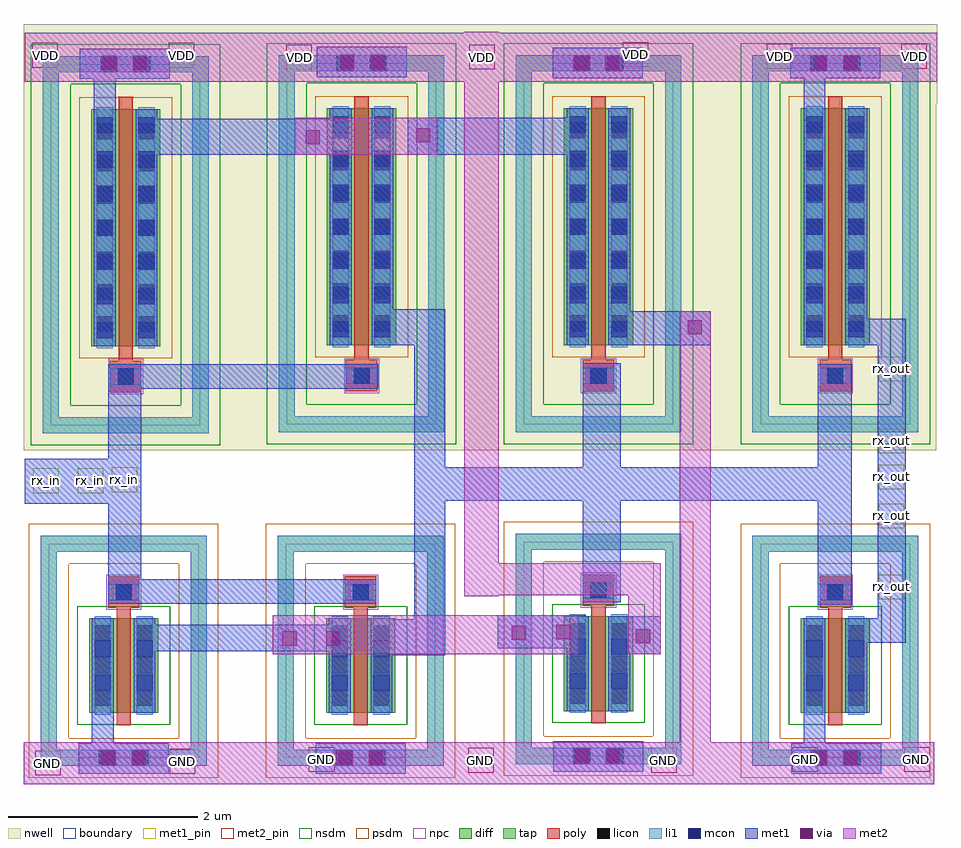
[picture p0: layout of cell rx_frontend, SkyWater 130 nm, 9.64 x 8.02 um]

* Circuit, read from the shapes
.subckt rx_frontend GND VDD rx_in rx_out
XM1 sky130_fd_pr__nfet_01v8_R8QKZ6_2/D rx_in GND GND sky130_fd_pr__nfet_01v8 w=1 l=0.15
XM2 sky130_fd_pr__nfet_01v8_R8QKZ6_0/D rx_in sky130_fd_pr__nfet_01v8_R8QKZ6_2/D GND sky130_fd_pr__nfet_01v8 w=1 l=0.15
XM3 VDD sky130_fd_pr__nfet_01v8_R8QKZ6_0/D sky130_fd_pr__nfet_01v8_R8QKZ6_2/D GND sky130_fd_pr__nfet_01v8 w=1 l=0.15
XM4 rx_out sky130_fd_pr__nfet_01v8_R8QKZ6_0/D GND GND sky130_fd_pr__nfet_01v8 w=1 l=0.15
XM5 sky130_fd_pr__pfet_01v8_7NYN35_4/D rx_in VDD VDD sky130_fd_pr__pfet_01v8 w=2.5 l=0.15
XM6 sky130_fd_pr__nfet_01v8_R8QKZ6_0/D rx_in sky130_fd_pr__pfet_01v8_7NYN35_4/D VDD sky130_fd_pr__pfet_01v8 w=2.5 l=0.15
XM7 GND sky130_fd_pr__nfet_01v8_R8QKZ6_0/D sky130_fd_pr__pfet_01v8_7NYN35_4/D VDD sky130_fd_pr__pfet_01v8 w=2.5 l=0.15
XM8 rx_out sky130_fd_pr__nfet_01v8_R8QKZ6_0/D VDD VDD sky130_fd_pr__pfet_01v8 w=2.5 l=0.15
.ends

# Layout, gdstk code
from math import pi, radians
import gdstk
lib = gdstk.Library(unit=1e-6, precision=1e-09)
def R(c, l, rs):  # rectangles x0, y0, x1, y1
    for r in rs: c.add(gdstk.rectangle(r[:2], r[2:], *l))
def A(c, l, x, y, w, h, nx, ny, dx, dy):  # array of equal rectangles
    R(c, l, [(x+i*dx, y+j*dy, x+i*dx+w, y+j*dy+h) for i in range(nx) for j in range(ny)])
nwell = (64, 20)
diff = (65, 20)
tap = (65, 44)
poly = (66, 20)
licon = (66, 44)
li1 = (67, 20)
mcon = (67, 44)
met1_pin = (68, 16)
met1 = (68, 20)
via = (68, 44)
met2_pin = (69, 16)
met2 = (69, 20)
nsdm = (93, 44)
psdm = (94, 20)
npc = (95, 20)
boundary = (235, 4)

sky130_fd_pr__nfet_01v8_ = lib.new_cell('sky130_fd_pr__nfet_01v8_R8QKZ6')
R(sky130_fd_pr__nfet_01v8_, diff, [(-0.365,-0.655,0.365,0.345)])
R(sky130_fd_pr__nfet_01v8_, tap, [(-0.875,-1.215,0.875,-1.045), (-0.875,-1.045,-0.705,1.045), (0.705,-1.045,0.875,1.045), (-0.875,1.045,0.875,1.215)])
R(sky130_fd_pr__nfet_01v8_, poly, [(-0.075,-0.785,0.075,0.455), (-0.165,0.455,0.165,0.785)])
A(sky130_fd_pr__nfet_01v8_, licon, -0.305, -0.58, 0.17, 0.17, 1, 3, 0, 0.34)
A(sky130_fd_pr__nfet_01v8_, licon, 0.135, -0.58, 0.17, 0.17, 1, 3, 0, 0.34)
R(sky130_fd_pr__nfet_01v8_, licon, [(-0.255,-1.215,-0.085,-1.045), (0.085,-1.215,0.255,-1.045), (-0.085,0.535,0.085,0.705)])
R(sky130_fd_pr__nfet_01v8_, li1, [(-0.875,-1.215,0.875,-1.045), (-0.875,-1.045,-0.705,1.045), (0.705,-1.045,0.875,1.045), (-0.305,-0.675,-0.135,0.365), (0.135,-0.675,0.305,0.365), (-0.165,0.535,0.165,0.705), (-0.875,1.045,0.875,1.215)])
R(sky130_fd_pr__nfet_01v8_, mcon, [(-0.305,-0.42,-0.135,-0.25), (0.135,-0.42,0.305,-0.25), (-0.305,-0.06,-0.135,0.11), (0.135,-0.06,0.305,0.11), (-0.085,0.535,0.085,0.705)])
R(sky130_fd_pr__nfet_01v8_, met1, [(-0.335,-0.655,-0.105,0.345), (0.105,-0.655,0.335,0.345), (-0.145,0.505,0.145,0.735)])
R(sky130_fd_pr__nfet_01v8_, nsdm, [(-0.49,-0.78,0.49,0.47)])
R(sky130_fd_pr__nfet_01v8_, psdm, [(-1,-1.34,1,-0.92), (-1,-0.92,-0.58,0.92), (0.58,-0.92,1,0.92), (-1,0.92,1,1.34)])
R(sky130_fd_pr__nfet_01v8_, npc, [(-0.185,0.435,0.185,0.805)])
R(sky130_fd_pr__nfet_01v8_, boundary, [(-0.79,-1.13,0.79,1.13)])
sky130_fd_pr__nfet_01v8_.add(gdstk.Label('G', (0,0.62), layer=67, texttype=5))
sky130_fd_pr__nfet_01v8_.add(gdstk.Label('S', (0.22,-0.155), layer=67, texttype=5))
sky130_fd_pr__nfet_01v8_.add(gdstk.Label('D', (-0.22,-0.155), layer=67, texttype=5))
sky130_fd_pr__nfet_01v8_.add(gdstk.Label('B', (0,-1.13), layer=67, texttype=5))

sky130_fd_pr__pfet_01v8_ = lib.new_cell('sky130_fd_pr__pfet_01v8_7NYN35')
R(sky130_fd_pr__pfet_01v8_, nwell, [(-1.055,-2.17,1.055,2.17)])
R(sky130_fd_pr__pfet_01v8_, diff, [(-0.365,-1.07,0.365,1.43)])
R(sky130_fd_pr__pfet_01v8_, tap, [(-0.875,-1.99,0.875,-1.82), (-0.875,-1.82,-0.705,1.82), (0.705,-1.82,0.875,1.82), (-0.875,1.82,0.875,1.99)])
R(sky130_fd_pr__pfet_01v8_, poly, [(-0.165,-1.555,0.165,-1.225), (-0.075,-1.225,0.075,1.56)])
A(sky130_fd_pr__pfet_01v8_, licon, -0.305, -0.925, 0.17, 0.17, 1, 7, 0, 0.34)
A(sky130_fd_pr__pfet_01v8_, licon, 0.135, -0.925, 0.17, 0.17, 1, 7, 0, 0.34)
R(sky130_fd_pr__pfet_01v8_, licon, [(-0.085,-1.475,0.085,-1.305), (-0.255,1.82,-0.085,1.99), (0.085,1.82,0.255,1.99)])
R(sky130_fd_pr__pfet_01v8_, li1, [(-0.875,-1.99,0.875,-1.82), (-0.875,-1.82,-0.705,1.82), (0.705,-1.82,0.875,1.82), (-0.165,-1.475,0.165,-1.305), (-0.305,-1.09,-0.135,1.45), (0.135,-1.09,0.305,1.45), (-0.875,1.82,0.875,1.99)])
A(sky130_fd_pr__pfet_01v8_, mcon, -0.305, -0.985, 0.17, 0.17, 1, 7, 0, 0.36)
A(sky130_fd_pr__pfet_01v8_, mcon, 0.135, -0.985, 0.17, 0.17, 1, 7, 0, 0.36)
R(sky130_fd_pr__pfet_01v8_, mcon, [(-0.085,-1.475,0.085,-1.305)])
R(sky130_fd_pr__pfet_01v8_, met1, [(-0.145,-1.505,0.145,-1.275), (-0.335,-1.07,-0.105,1.43), (0.105,-1.07,0.335,1.43)])
R(sky130_fd_pr__pfet_01v8_, nsdm, [(-1,-2.115,1,-1.695), (-1,-1.695,-0.58,1.695), (0.58,-1.695,1,1.695), (-1,1.695,1,2.115)])
R(sky130_fd_pr__pfet_01v8_, psdm, [(-0.49,-1.195,0.49,1.555)])
R(sky130_fd_pr__pfet_01v8_, npc, [(-0.185,-1.575,0.185,-1.205)])
R(sky130_fd_pr__pfet_01v8_, boundary, [(-0.79,-1.905,0.79,1.905)])
sky130_fd_pr__pfet_01v8_.add(gdstk.Label('B', (0,-1.905), layer=65, texttype=5))
sky130_fd_pr__pfet_01v8_.add(gdstk.Label('G', (0,-1.39), layer=67, texttype=5))
sky130_fd_pr__pfet_01v8_.add(gdstk.Label('S', (0.22,0.18), layer=67, texttype=5))
sky130_fd_pr__pfet_01v8_.add(gdstk.Label('D', (-0.22,0.18), layer=67, texttype=5))

rx_frontend = lib.new_cell('rx_frontend')
R(rx_frontend, nwell, [(-1.01,-1,8.62,2.66), (-1.01,2.66,8.63,3.5)])
A(rx_frontend, li1, 2.16, 3, 0.79, 0.17, 3, 1, 2.5, 0)
R(rx_frontend, li1, [(-0.35,-4.33,0.44,-4.16), (2.15,-4.33,2.94,-4.16), (7.16,-4.33,7.95,-4.16), (4.66,-4.31,5.45,-4.14), (-0.33,2.99,0.46,3.16)])
R(rx_frontend, mcon, [(-0.22,-4.33,-0.05,-4.16), (0.14,-4.33,0.31,-4.16), (2.28,-4.33,2.45,-4.16), (2.64,-4.33,2.81,-4.16), (7.29,-4.33,7.46,-4.16), (7.65,-4.33,7.82,-4.16), (4.79,-4.31,4.96,-4.14), (5.15,-4.31,5.32,-4.14), (-0.2,2.99,-0.03,3.16), (0.16,2.99,0.33,3.16), (2.29,3,2.46,3.17), (2.65,3,2.82,3.17), (4.79,3,4.96,3.17), (5.15,3,5.32,3.17), (7.29,3,7.46,3.17), (7.65,3,7.82,3.17)])
R(rx_frontend, met1_pin, [(8.01,-2.57,8.28,-2.31), (8.01,-1.82,8.28,-1.56), (-0.91,-1.45,-0.64,-1.19), (-0.44,-1.45,-0.17,-1.19), (-0.08,-1.44,0.19,-1.18), (8.01,-1.41,8.28,-1.15), (8.01,-1.03,8.28,-0.77), (8.01,-0.27,8.28,-0.01)])
R(rx_frontend, met1, [(-0.43,-4.41,0.52,-4.09), (2.07,-4.41,3.02,-4.09), (7.09,-4.41,8.04,-4.09), (4.58,-4.39,5.53,-4.07), (-0.29,-4.09,-0.06,-3.47), (7.22,-4.09,7.45,-3.26), (2.66,-3.16,3.44,-2.78), (5.16,-3.15,5.71,-2.75), (0.15,-3.12,2.44,-2.84), (3.99,-3.09,4.92,-3.07), (3.99,-3.07,4.94,-2.77), (7.66,-3.03,8.3,-2.77), (3.11,-2.78,3.44,-1.53), (3.99,-2.77,4.92,-2.74), (8,-2.77,8.3,0.11), (7.37,-2.63,7.73,-1.53), (-0.12,-2.62,2.71,-2.36), (4.89,-2.6,5.29,-1.53), (-0.12,-2.36,0.23,-1.56), (-1,-1.56,0.23,-1.09), (3.11,-1.53,7.73,-1.18), (3.11,-1.18,3.44,0.11), (4.89,-1.18,5.29,-0.08), (7.37,-1.18,7.73,-0.09), (-0.12,-1.09,0.23,-0.35), (-0.12,-0.35,2.73,-0.09), (2.66,0.11,3.44,0.49), (5.16,0.11,6.24,0.47), (7.66,0.11,8.3,0.39), (0.17,2.12,2.45,2.5), (3.04,2.12,4.95,2.51), (7.22,2.14,7.45,2.93), (-0.27,2.37,-0.04,2.92), (-0.42,2.92,0.53,3.24), (4.57,2.93,5.52,3.25), (7.08,2.93,8.03,3.25), (2.08,2.94,3.03,3.26)])
R(rx_frontend, via, [(-0.19,-4.325,-0.04,-4.175), (0.13,-4.325,0.28,-4.175), (2.31,-4.325,2.46,-4.175), (2.63,-4.325,2.78,-4.175), (7.32,-4.325,7.47,-4.175), (7.64,-4.325,7.79,-4.175), (4.81,-4.305,4.96,-4.155), (5.13,-4.305,5.28,-4.155), (1.72,-3.06,1.87,-2.91), (2.18,-3.06,2.33,-2.91), (5.45,-3.035,5.6,-2.885), (4.14,-3,4.29,-2.85), (4.61,-2.99,4.76,-2.84), (5.995,0.225,6.145,0.375), (1.965,2.23,2.115,2.38), (3.13,2.25,3.28,2.4), (-0.18,3.015,-0.03,3.165), (0.14,3.015,0.29,3.165), (4.8,3.015,4.95,3.165), (5.12,3.015,5.27,3.165), (7.32,3.015,7.47,3.165), (7.64,3.015,7.79,3.165), (2.33,3.025,2.48,3.175), (2.65,3.025,2.8,3.175)])
R(rx_frontend, met2_pin, [(-0.89,-4.43,-0.62,-4.17), (0.53,-4.41,0.8,-4.15), (3.68,-4.4,3.95,-4.14), (5.61,-4.4,5.88,-4.14), (2,-4.39,2.27,-4.13), (7.1,-4.39,7.37,-4.13), (8.28,-4.39,8.55,-4.13), (1.76,3.02,2.03,3.28), (3.69,3.02,3.96,3.28), (6.83,3.03,7.1,3.29), (8.25,3.03,8.52,3.29), (-0.92,3.04,-0.65,3.3), (0.52,3.04,0.79,3.3), (5.31,3.05,5.58,3.31)])
R(rx_frontend, met2, [(-1.01,-4.52,8.6,-4.08), (5.91,-4.08,6.24,0.47), (1.62,-3.15,4.84,-2.74), (5.37,-3.15,5.71,-2.53), (3.64,-2.54,4,-2.53), (3.64,-2.53,5.71,-2.19), (3.64,-2.19,4,2.89), (1.85,2.12,3.36,2.51), (-1,2.89,8.63,3.41), (3.64,3.41,4,3.42)])
rx_frontend.add(gdstk.Reference(sky130_fd_pr__nfet_01v8_, (2.545,-3.115), rotation=pi, x_reflection=True))
rx_frontend.add(gdstk.Reference(sky130_fd_pr__nfet_01v8_, (5.055,-3.095), rotation=pi, x_reflection=True))
rx_frontend.add(gdstk.Reference(sky130_fd_pr__nfet_01v8_, (0.045,-3.115), rotation=pi, x_reflection=True))
rx_frontend.add(gdstk.Reference(sky130_fd_pr__nfet_01v8_, (7.555,-3.115), rotation=pi, x_reflection=True))
rx_frontend.add(gdstk.Reference(sky130_fd_pr__pfet_01v8_, (0.065,1.17), rotation=pi, x_reflection=True))
rx_frontend.add(gdstk.Reference(sky130_fd_pr__pfet_01v8_, (2.555,1.18), rotation=pi, x_reflection=True))
rx_frontend.add(gdstk.Reference(sky130_fd_pr__pfet_01v8_, (5.055,1.18), rotation=pi, x_reflection=True))
rx_frontend.add(gdstk.Reference(sky130_fd_pr__pfet_01v8_, (7.555,1.18), rotation=pi, x_reflection=True))
rx_frontend.add(gdstk.Label('rx_out', (8.145,-2.44), layer=68, texttype=5))
rx_frontend.add(gdstk.Label('rx_out', (8.145,-1.69), layer=68, texttype=5))
rx_frontend.add(gdstk.Label('rx_out', (8.145,-1.28), layer=68, texttype=5))
rx_frontend.add(gdstk.Label('rx_out', (8.145,-0.9), layer=68, texttype=5))
rx_frontend.add(gdstk.Label('rx_out', (8.145,-0.14), layer=68, texttype=5))
rx_frontend.add(gdstk.Label('rx_in', (-0.775,-1.32), layer=68, texttype=5))
rx_frontend.add(gdstk.Label('rx_in', (-0.305,-1.32), layer=68, texttype=5))
rx_frontend.add(gdstk.Label('rx_in', (0.055,-1.31), layer=68, texttype=5))
rx_frontend.add(gdstk.Label('GND', (-0.755,-4.3), layer=69, texttype=5))
rx_frontend.add(gdstk.Label('GND', (0.665,-4.28), layer=69, texttype=5))
rx_frontend.add(gdstk.Label('GND', (3.815,-4.27), layer=69, texttype=5))
rx_frontend.add(gdstk.Label('GND', (5.745,-4.27), layer=69, texttype=5))
rx_frontend.add(gdstk.Label('GND', (2.135,-4.26), layer=69, texttype=5))
rx_frontend.add(gdstk.Label('GND', (7.235,-4.26), layer=69, texttype=5))
rx_frontend.add(gdstk.Label('GND', (8.415,-4.26), layer=69, texttype=5))
rx_frontend.add(gdstk.Label('VDD', (1.895,3.15), layer=69, texttype=5))
rx_frontend.add(gdstk.Label('VDD', (3.825,3.15), layer=69, texttype=5))
rx_frontend.add(gdstk.Label('VDD', (6.965,3.16), layer=69, texttype=5))
rx_frontend.add(gdstk.Label('VDD', (8.385,3.16), layer=69, texttype=5))
rx_frontend.add(gdstk.Label('VDD', (-0.785,3.17), layer=69, texttype=5))
rx_frontend.add(gdstk.Label('VDD', (0.655,3.17), layer=69, texttype=5))
rx_frontend.add(gdstk.Label('VDD', (5.445,3.18), layer=69, texttype=5))

lib.write_gds('rx_frontend.gds')
